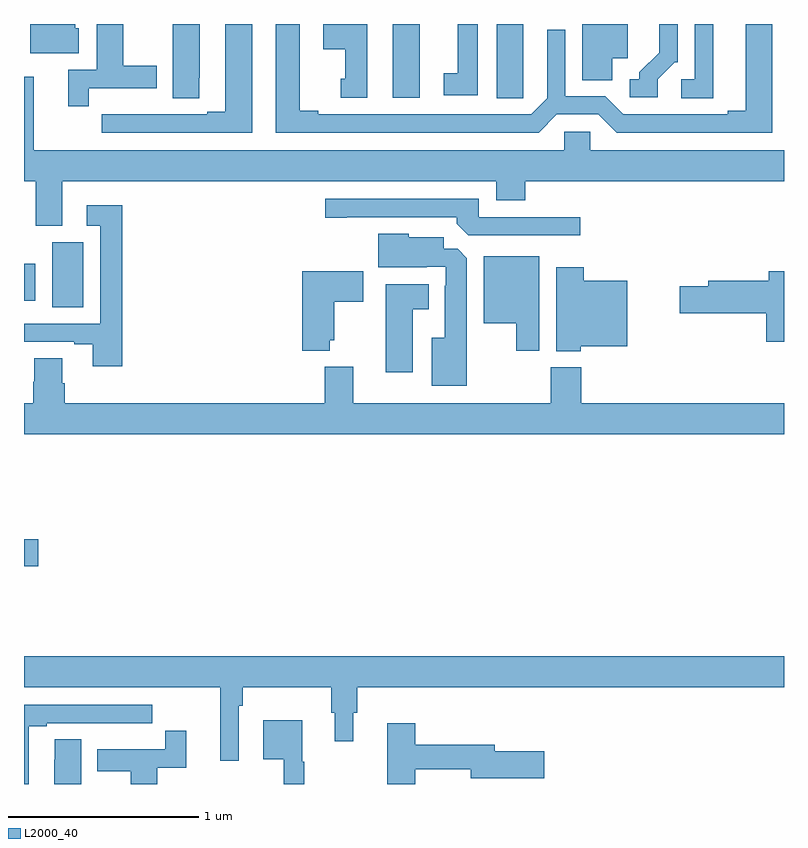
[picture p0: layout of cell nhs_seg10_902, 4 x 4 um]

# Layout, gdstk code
import gdstk
lib = gdstk.Library(unit=1e-6, precision=1e-09)
def R(c, l, rs):  # rectangles x0, y0, x1, y1
    for r in rs: c.add(gdstk.rectangle(r[:2], r[2:], *l))
def P(c, l, *ps):  # polygons
    for p in ps: c.add(gdstk.Polygon(p, *l))
L2000_40 = (2000, 40)

nhs_seg10_902 = lib.new_cell('nhs_seg10_902')
R(nhs_seg10_902, L2000_40, [(157,1275.646,157.075,1275.788), (157.148,1277.008,157.312,1277.352), (157,1277.043,157.06,1277.239), (158.942,1278.111,159.082,1278.5)])
P(nhs_seg10_902, L2000_40, [(157.34,1278.162),(157.699,1278.162),(157.699,1278.279),(157.522,1278.279),(157.522,1278.5),(157.382,1278.5),(157.382,1278.258),(157.232,1278.258),(157.232,1278.066),(157.34,1278.066)],
  [(159.627,1278.217),(159.628,1278.217),(159.628,1278.5),(159.488,1278.5),(159.488,1278.109),(159.627,1278.109)],
  [(160.096,1278.32),(160.177,1278.32),(160.177,1278.5),(159.938,1278.5),(159.938,1278.205),(160.096,1278.205)],
  [(160.627,1278.5),(160.53,1278.5),(160.53,1278.21),(160.458,1278.21),(160.458,1278.109),(160.627,1278.109)],
  [(157.288,1278.477),(157.27,1278.477),(157.27,1278.5),(157.034,1278.5),(157.034,1278.347),(157.288,1278.347)],
  [(158.2,1278.5),(158.06,1278.5),(158.06,1278.039),(157.964,1278.039),(157.964,1278.024),(157.688,1278.024),(157.688,1278.025),(157.522,1278.025),(157.522,1278.024),(157.41,1278.024),(157.41,1277.928),(158.2,1277.928)],
  [(157.923,1278.217),(157.924,1278.217),(157.924,1278.5),(157.784,1278.5),(157.784,1278.109),(157.923,1278.109)],
  [(159.805,1278.024),(160.023,1278.024),(160.119,1277.928),(160.939,1277.928),(160.939,1278.5),(160.799,1278.5),(160.799,1278.044),(160.703,1278.044),(160.703,1278.024),(160.155,1278.024),(160.059,1278.12),(159.849,1278.12),(159.849,1278.469),(159.753,1278.469),(159.753,1278.108),(159.669,1278.024),(158.548,1278.024),(158.548,1278.044),(158.452,1278.044),(158.452,1278.5),(158.324,1278.5),(158.324,1277.928),(159.709,1277.928)],
  [(160.335,1278.21),(160.425,1278.3),(160.44,1278.3),(160.44,1278.5),(160.343,1278.5),(160.343,1278.35),(160.238,1278.245),(160.238,1278.21),(160.188,1278.21),(160.188,1278.114),(160.335,1278.114)],
  [(159.388,1278.5),(159.284,1278.5),(159.284,1278.242),(159.21,1278.242),(159.21,1278.126),(159.388,1278.126)],
  [(158.806,1278.5),(158.576,1278.5),(158.576,1278.368),(158.69,1278.368),(158.69,1278.213),(158.666,1278.213),(158.666,1278.111),(158.806,1278.111)],
  [(157.201,1277.672),(159.485,1277.672),(159.485,1277.573),(159.638,1277.573),(159.638,1277.672),(161,1277.672),(161,1277.836),(159.981,1277.836),(159.981,1277.934),(159.843,1277.934),(159.843,1277.836),(157.052,1277.836),(157.052,1278.223),(157,1278.223),(157,1277.672),(157.061,1277.672),(157.061,1277.437),(157.201,1277.437)],
  [(159.928,1277.484),(159.393,1277.484),(159.393,1277.58),(158.586,1277.58),(158.586,1277.479),(158.698,1277.479),(158.698,1277.484),(159.278,1277.484),(159.278,1277.45),(159.339,1277.388),(159.928,1277.388)],
  [(157.517,1277.545),(157.329,1277.545),(157.329,1277.439),(157.401,1277.439),(157.401,1276.923),(157,1276.923),(157,1276.827),(157.265,1276.827),(157.265,1276.815),(157.361,1276.815),(157.361,1276.698),(157.517,1276.698)],
  [(159.331,1277.267),(159.282,1277.316),(159.208,1277.316),(159.208,1277.377),(159.024,1277.377),(159.024,1277.395),(158.864,1277.395),(158.864,1277.219),(159.119,1277.219),(159.119,1277.223),(159.219,1277.223),(159.219,1277.123),(159.215,1277.123),(159.215,1276.849),(159.146,1276.849),(159.146,1276.595),(159.331,1276.595)],
  [(159.712,1277.278),(159.419,1277.278),(159.419,1276.925),(159.59,1276.925),(159.59,1276.779),(159.712,1276.779)],
  [(159.93,1276.805),(160.174,1276.805),(160.174,1277.149),(159.947,1277.149),(159.947,1277.221),(159.8,1277.221),(159.8,1276.778),(159.93,1276.778)],
  [(158.61,1276.835),(158.632,1276.835),(158.632,1277.038),(158.785,1277.038),(158.785,1277.2),(158.465,1277.2),(158.465,1276.781),(158.61,1276.781)],
  [(161,1277.2),(160.919,1277.2),(160.919,1277.15),(160.601,1277.15),(160.601,1277.12),(160.452,1277.12),(160.452,1276.978),(160.907,1276.978),(160.907,1276.827),(161,1276.827)],
  [(159.046,1277),(159.13,1277),(159.13,1277.131),(158.903,1277.131),(158.903,1276.668),(159.046,1276.668)],
  [(161,1276.504),(159.932,1276.504),(159.932,1276.693),(159.772,1276.693),(159.772,1276.504),(158.734,1276.504),(158.734,1276.696),(158.582,1276.696),(158.582,1276.504),(157.214,1276.504),(157.214,1276.61),(157.201,1276.61),(157.201,1276.742),(157.054,1276.742),(157.054,1276.617),(157.049,1276.617),(157.049,1276.504),(157,1276.504),(157,1276.34),(161,1276.34)],
  [(157,1275.008),(158.033,1275.008),(158.033,1274.622),(158.13,1274.622),(158.13,1274.912),(158.15,1274.912),(158.15,1275.008),(158.617,1275.008),(158.617,1274.874),(158.636,1274.874),(158.636,1274.724),(158.734,1274.724),(158.734,1274.874),(158.753,1274.874),(158.753,1275.008),(161,1275.008),(161,1275.172),(157,1275.172)],
  [(157.024,1274.805),(157.12,1274.805),(157.12,1274.82),(157.396,1274.82),(157.396,1274.819),(157.562,1274.819),(157.562,1274.82),(157.675,1274.82),(157.675,1274.916),(157,1274.916),(157,1274.5),(157.024,1274.5)],
  [(158.476,1274.616),(158.464,1274.616),(158.464,1274.836),(158.258,1274.836),(158.258,1274.63),(158.367,1274.63),(158.367,1274.5),(158.476,1274.5)],
  [(159.059,1274.578),(159.35,1274.578),(159.35,1274.531),(159.739,1274.531),(159.739,1274.673),(159.478,1274.673),(159.478,1274.707),(159.059,1274.707),(159.059,1274.821),(158.912,1274.821),(158.912,1274.5),(159.059,1274.5)],
  [(157.702,1274.586),(157.853,1274.586),(157.853,1274.779),(157.744,1274.779),(157.744,1274.682),(157.385,1274.682),(157.385,1274.566),(157.562,1274.566),(157.562,1274.5),(157.702,1274.5)],
  [(157.3,1274.735),(157.161,1274.735),(157.161,1274.627),(157.16,1274.627),(157.16,1274.5),(157.3,1274.5)])

lib.write_gds('nhs_seg10_902.gds')
